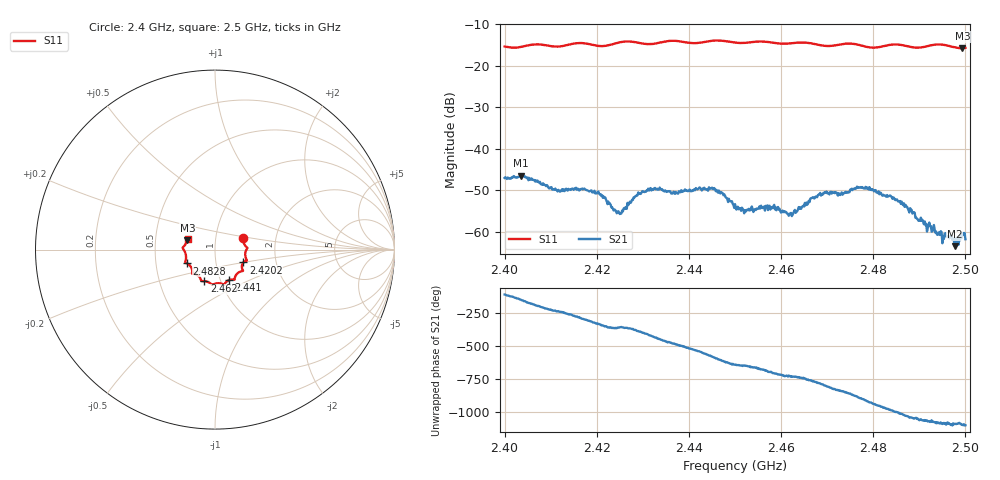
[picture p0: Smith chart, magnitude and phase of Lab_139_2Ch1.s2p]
# Hz S RI R 50
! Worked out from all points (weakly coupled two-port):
!   601 points, 2.4 GHz to 2.5 GHz, reference 50 ohm
!   highest |S21| = -46.54 dB at 2.4035 GHz (marker M1); lowest = -63.5 dB at 2.4977 GHz (marker M2)
!   lowest |S11| = -15.8 dB at 2.4993 GHz (marker M3), VSWR 1.39, Z = 36.5 + j3.85 ohm
!   |S11| at or under -10 dB: start of sweep to end of sweep
!   S12 and S22 are empty: the file has one direction only
!   S11 on the Smith chart (normalised r, x): 2.4 GHz: 1.36, +0.18; 2.4202 GHz: 1.36, -0.20; 2.441 GHz: 1.10, -0.39; 2.462 GHz: 0.84, -0.30; 2.4828 GHz: 0.72, -0.11; 2.5 GHz: 0.73, +0.09
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2.4e9  0.1583 0.0627  -0.00134 -0.00424  0 0  0 0
2.4035e9  0.1667 0.0239  -0.00391 -0.00262  0 0  0 0
2.411833e9  0.1683 -0.0263  -0.00168 0.00264  0 0  0 0
2.416667e9  0.1775 -0.0606  0.00114 0.00305  0 0  0 0
2.420167e9  0.1584 -0.0713  0.00258 0.0014  0 0  0 0
2.424833e9  0.1537 -0.1124  0.00169 4.8e-05  0 0  0 0
2.4295e9  0.1415 -0.1225  0.00247 -0.00141  0 0  0 0
2.433333e9  0.1122 -0.151  0.000469 -0.00317  0 0  0 0
2.441e9  0.0785 -0.1698  -0.00303 -0.000799  0 0  0 0
2.4455e9  0.0513 -0.1941  -0.00235 0.00239  0 0  0 0
2.45e9  0.0285 -0.1877  0.000401 0.00211  0 0  0 0
2.452333e9  0.0051 -0.189  0.000564 0.00165  0 0  0 0
2.458333e9  -0.0275 -0.1873  0.00193 0.000568  0 0  0 0
2.462e9  -0.0602 -0.1759  0.00162 -0.00019  0 0  0 0
2.466667e9  -0.0788 -0.168  0.00193 -0.00166  0 0  0 0
2.476833e9  -0.127 -0.1256  -0.00336 -0.000608  0 0  0 0
2.482833e9  -0.1573 -0.0769  -0.000783 0.00252  0 0  0 0
2.483333e9  -0.1604 -0.0755  -0.000495 0.00262  0 0  0 0
2.494e9  -0.1802 0.00909  0.000913 -5.99e-05  0 0  0 0
2.497667e9  -0.1637 0.0303  0.00066 -0.000104  0 0  0 0
2.499333e9  -0.1542 0.0513  0.000901 -0.000264  0 0  0 0
2.5e9  -0.1523 0.0608  0.000759 -0.000281  0 0  0 0
